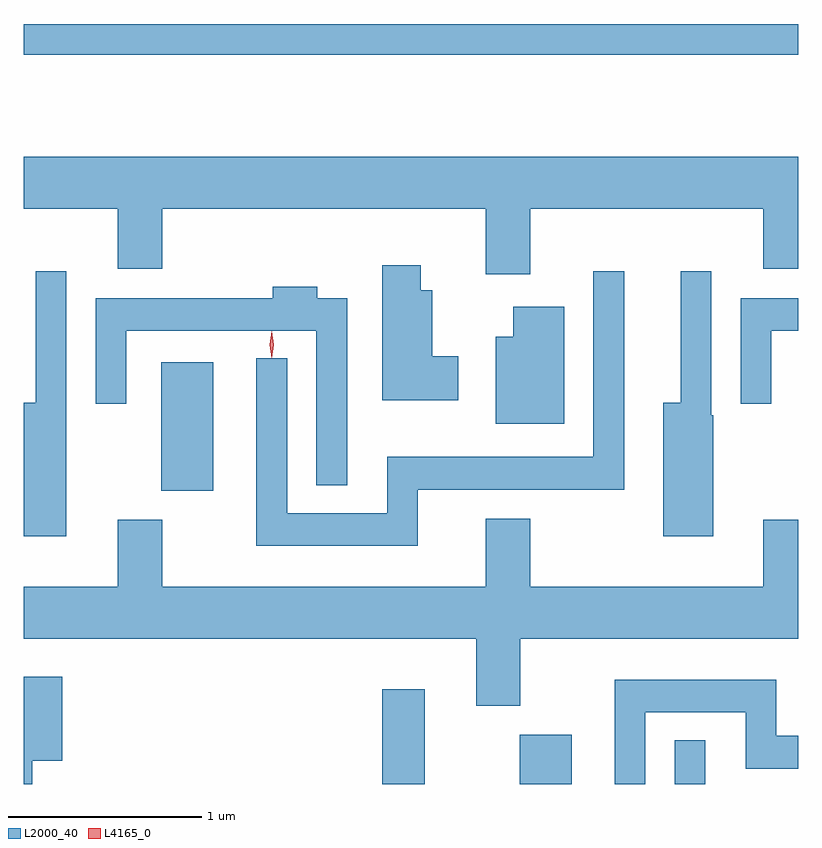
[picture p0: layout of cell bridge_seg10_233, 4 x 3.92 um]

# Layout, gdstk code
import gdstk
lib = gdstk.Library(unit=1e-6, precision=1e-09)
def R(c, l, rs):  # rectangles x0, y0, x1, y1
    for r in rs: c.add(gdstk.rectangle(r[:2], r[2:], *l))
def P(c, l, *ps):  # polygons
    for p in ps: c.add(gdstk.Polygon(p, *l))
L2000_40 = (2000, 40)
L4165_0 = (4165, 0)

bridge_seg10_233 = lib.new_cell('bridge_seg10_233')
R(bridge_seg10_233, L2000_40, [(1800.746,2099.846,1800.964,2100.334), (1801.456,2099.846,1801.724,2100.099), (1802.256,2099.846,1802.414,2100.073), (1799.606,2101.361,1799.874,2102.024), (1798.894,2103.611,1802.894,2103.769)])
P(bridge_seg10_233, L2000_40, [(1801.509,2102.816),(1802.711,2102.816),(1802.711,2102.506),(1802.894,2102.506),(1802.894,2103.084),(1798.894,2103.084),(1798.894,2102.816),(1799.381,2102.816),(1799.381,2102.506),(1799.609,2102.506),(1799.609,2102.816),(1801.281,2102.816),(1801.281,2102.476),(1801.509,2102.476)],
  [(1801.139,2102.054),(1801.004,2102.054),(1801.004,2102.394),(1800.944,2102.394),(1800.944,2102.524),(1800.746,2102.524),(1800.746,2101.826),(1801.139,2101.826)],
  [(1800.929,2101.366),(1801.994,2101.366),(1801.994,2102.493),(1801.836,2102.493),(1801.836,2101.534),(1800.771,2101.534),(1800.771,2101.244),(1800.254,2101.244),(1800.254,2102.043),(1800.096,2102.043),(1800.096,2101.076),(1800.929,2101.076)],
  [(1802.454,2101.75),(1802.444,2101.75),(1802.444,2102.493),(1802.286,2102.493),(1802.286,2101.814),(1802.196,2101.814),(1802.196,2101.126),(1802.454,2101.126)],
  [(1799.114,2102.493),(1798.956,2102.493),(1798.956,2101.814),(1798.896,2101.814),(1798.896,2101.126),(1799.114,2101.126)],
  [(1800.564,2102.354),(1800.409,2102.354),(1800.409,2102.414),(1800.181,2102.414),(1800.181,2102.354),(1799.266,2102.354),(1799.266,2101.808),(1799.424,2101.808),(1799.424,2102.186),(1800.406,2102.186),(1800.406,2101.388),(1800.564,2101.388)],
  [(1802.754,2102.186),(1802.894,2102.186),(1802.894,2102.354),(1802.596,2102.354),(1802.596,2101.808),(1802.754,2101.808)],
  [(1801.684,2102.309),(1801.421,2102.309),(1801.421,2102.154),(1801.331,2102.154),(1801.331,2101.706),(1801.684,2101.706)],
  [(1801.459,2100.596),(1802.894,2100.596),(1802.894,2101.209),(1802.711,2101.209),(1802.711,2100.864),(1801.509,2100.864),(1801.509,2101.214),(1801.281,2101.214),(1801.281,2100.864),(1799.609,2100.864),(1799.609,2101.209),(1799.381,2101.209),(1799.381,2100.864),(1798.894,2100.864),(1798.894,2100.596),(1801.231,2100.596),(1801.231,2100.251),(1801.459,2100.251)],
  [(1798.939,2099.966),(1799.094,2099.966),(1799.094,2100.399),(1798.894,2100.399),(1798.894,2099.846),(1798.939,2099.846)],
  [(1802.104,2100.216),(1802.621,2100.216),(1802.621,2099.926),(1802.894,2099.926),(1802.894,2100.094),(1802.779,2100.094),(1802.779,2100.384),(1801.946,2100.384),(1801.946,2099.846),(1802.104,2099.846)])
P(bridge_seg10_233, L4165_0, [(1800.174,2102.047),(1800.174,2102.048),(1800.164,2102.114),(1800.174,2102.18),(1800.174,2102.18),(1800.175,2102.18),(1800.184,2102.114),(1800.175,2102.048)],
  [(1800.174,2102.044),(1800.165,2102.113),(1800.174,2102.182),(1800.175,2102.183),(1800.175,2102.182),(1800.185,2102.113),(1800.175,2102.044),(1800.175,2102.044)])

lib.write_gds('bridge_seg10_233.gds')
